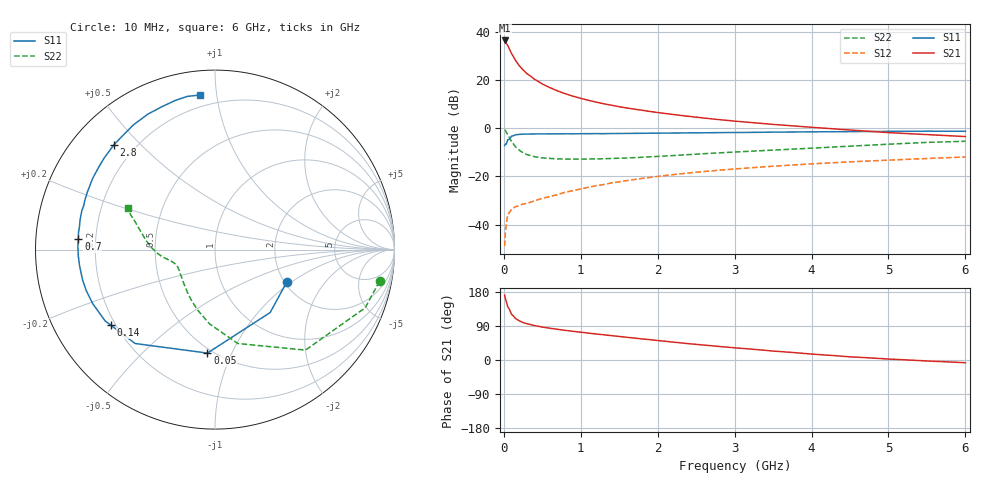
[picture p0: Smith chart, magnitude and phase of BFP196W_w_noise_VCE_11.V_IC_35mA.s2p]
! (c) 2017  Infineon Technologies AG, Munich
! Infineon Technologies  Discrete & RF Semiconductors
! BFP196W
! VCE =  11. V,  IC =  35 mA
! Common Emitter S-Parameters:  Jan 2017
# GHz  S  MA  R  50
!  f  S11  S21  S12  S22
! GHz  MAG  ANG  MAG  ANG  MAG  ANG  MAG  ANG
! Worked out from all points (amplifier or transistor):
!   77 points, 10 MHz to 6 GHz, reference 50 ohm
!   highest |S21| = 36.4 dB at 10 MHz (marker M1)
!   |S21| within 3 dB of that: start of sweep to 64.22 MHz
!   unconditionally stable (mu >= 1): 843.8 MHz to 3.257 GHz
!   at 130 MHz: K = 0.33, MSG = 31.1 dB, |S12| = -32.9 dB
!   at 2.2 GHz: K = 1.05, MAG = 11.1 dB, |S12| = -19.2 dB
!   at 6 GHz: K = 0.91, MSG = 4.2 dB, |S12| = -11.9 dB
!   lowest NFmin = 1.19 dB at 450 MHz
!   S11 on the Smith chart (normalised r, x): 10 MHz: 2.06, -0.92; 50 MHz: 0.47, -0.81; 140 MHz: 0.18, -0.32; 700 MHz: 0.13, +0.04; 2.8 GHz: 0.12, +0.42; 6 GHz: 0.13, +0.90
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0.01  0.4387 -24.2  65.78 171.1  0.0036 72.2  0.9336 -10.9
0.02  0.4663 -48.7  63.29 161.9  0.0069 73.4  0.8974 -21.2
0.05  0.5782 -94.2  51.79 140.7  0.0158 55.1  0.7535 -48.0
0.1  0.6868 -130.4  35.22 120.3  0.0209 43.4  0.5385 -76.3
0.14  0.7166 -143.9  27.46 112.6  0.0231 38.8  0.4362 -89.8
0.15  0.7299 -147.0  25.63 109.9  0.0237 37.8  0.4155 -94.1
0.2  0.7449 -156.2  19.84 103.4  0.0246 37.5  0.3508 -106.0
0.25  0.7531 -162.5  16.12 98.8  0.027 38.3  0.3101 -115.3
0.3  0.757 -167.1  13.54 95.6  0.0277 39.4  0.2852 -122.3
0.4  0.76 -173.4  10.28 90.6  0.0313 43.4  0.257 -132.5
0.5  0.7628 -177.7  8.25 86.9  0.0353 47.0  0.2427 -139.4
0.6  0.7641 178.6  6.906 83.7  0.0385 49.5  0.2369 -144.6
0.7  0.7636 175.7  5.914 81.0  0.0423 52.5  0.2311 -148.1
0.9  0.766 170.3  4.601 75.7  0.0509 55.1  0.2296 -153.0
1.1  0.771 165.8  3.786 71.0  0.0599 56.9  0.2304 -156.3
1.5  0.7774 157.5  2.79 62.1  0.0777 57.7  0.239 -161.5
2.1  0.7922 145.9  2.018 49.4  0.1047 55.9  0.2657 -167.6
2.8  0.8113 134.0  1.506 35.7  0.1349 51.6  0.3084 -174.3
3.1  0.8163 129.3  1.36 30.6  0.147 49.4  0.3271 -177.4
4.1  0.8432 115.0  1.019 14.3  0.1859 42.0  0.3933 171.4
5.1  0.861 104.0  0.795 1.6  0.2215 34.5  0.4746 160.5
6  0.8653 95.6  0.671 -7.2  0.2535 27.6  0.5364 154.7
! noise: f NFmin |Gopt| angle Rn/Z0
0.45  1.19  0.46  180  0.06
0.9  1.33  0.53  -174  0.06
1.9  2.17  0.68  -151  0.13
2.4  2.57  0.73  -145  0.23
